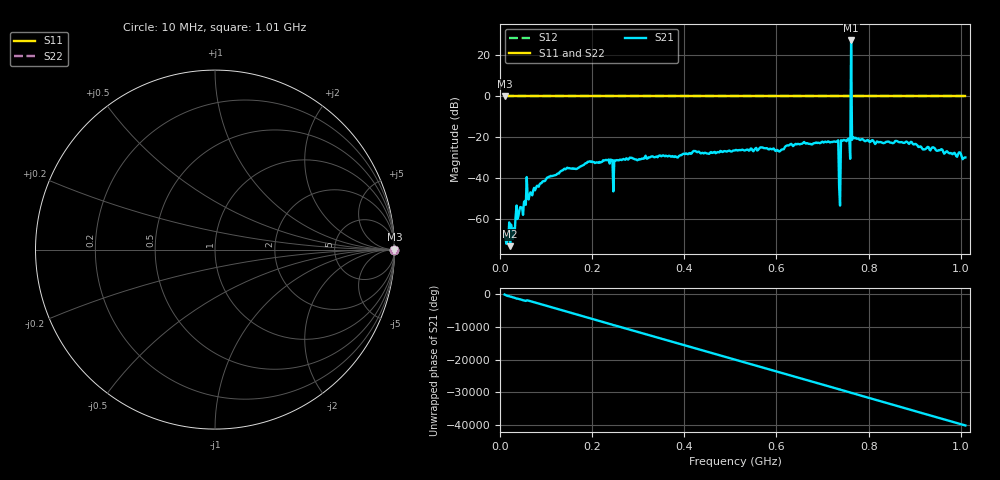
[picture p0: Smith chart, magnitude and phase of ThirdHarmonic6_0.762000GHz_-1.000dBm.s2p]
! 8/16/2025 1:28:32 AM
! C:\ANRITSUVNA\TEMP\TEMP.S2P
! CHANNEL.1
! TR.MEASUREMENT
! RAW.DATA
! RF.CORRECTION.OFF
! AVERAGING.OFF
! IF.BANDWIDTH: 5KHZ
! SWEEPTYPE:  FREQ.SWEEP(Linear)
! Reference Plane Port Info
! PORT:  PORT1  PORT2
! DISTANCE:  0  m  0  m
! TIME:  0  s  0  s
! PHASE.OFFSET:  0  deg.  0  deg.
! LOSS:  0  dB  0  dB
! REF.LOSS:  0  dB  0  dB
! REF.FREQ:  0  Hz  0  Hz
! Power Info
! POWER:  -20  dBm  -20  dBm
! EFF.POWER:  -20  dBm  -20  dBm
! SOURCE.ATTEN:  0  dB  0  dB
! TEST.ATTEN:  0  dB  0  dB
# GHZ S RI R 50.0
! FREQ.GHZ  S11RE  S11IM  S21RE  S21IM  S12RE  S12IM  S22RE  S22IM
!; PortSelection: Port_12
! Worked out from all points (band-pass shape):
!   501 points, 10 MHz to 1.01 GHz, reference 50 ohm
!   highest |S21| = 27.01 dB at 762 MHz (marker M1); lowest = -73.1 dB at 22 MHz (marker M2)
!   |S21| within 3 dB of the highest: 761.8959 MHz to 762.124 MHz (228.1 kHz wide, 0.0299 % of centre)
!   lowest |S11| = 0.0 dB at 10 MHz (marker M3)
!   |S11| at or under -10 dB: nowhere
!   |S22| runs from 0.0 to 0.0 dB; largest |S21 - S12| = 21
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0.01  1 0  8.25e-05 -0.000451  1 0  1 0
0.022  1 0  0.000217 3.53e-05  1 0  1 0
0.026  1 0  -0.000246 -0.000468  1 0  1 0
0.038  1 0  -0.000291 0.000966  1 0  1 0
0.052  1 0  -0.000491 -0.00256  1 0  1 0
0.062  1 0  -0.00275 -0.00122  1 0  1 0
0.106  1 0  -0.00831 -0.00689  1 0  1 0
0.178  1 0  -0.0199 -0.00207  1 0  1 0
0.344  1 0  0.031 -0.0149  1 0  1 0
0.51  1 0  -0.0344 0.0325  1 0  1 0
0.678  1 0  -0.056 -0.0355  1 0  1 0
0.73  1 0  0.00167 -0.0765  1 0  1 0
0.734  1 0  -0.0294 0.0777  1 0  1 0
0.74  1 0  -0.0622 -0.0558  1 0  1 0
0.744  1 0  0.0386 0.0725  1 0  1 0
0.756  1 0  0.0392 -0.082  1 0  1 0
0.758  1 0  -0.078 -0.0496  1 0  1 0
0.762  1 0  22.27 2.603  1 0  1 0
0.766  1 0  -0.0352 -0.0936  1 0  1 0
0.768  1 0  -0.0931 0.0248  1 0  1 0
0.844  1 0  0.0673 -0.0377  1 0  1 0
1.01  1 0  -0.00986 0.0303  1 0  1 0
